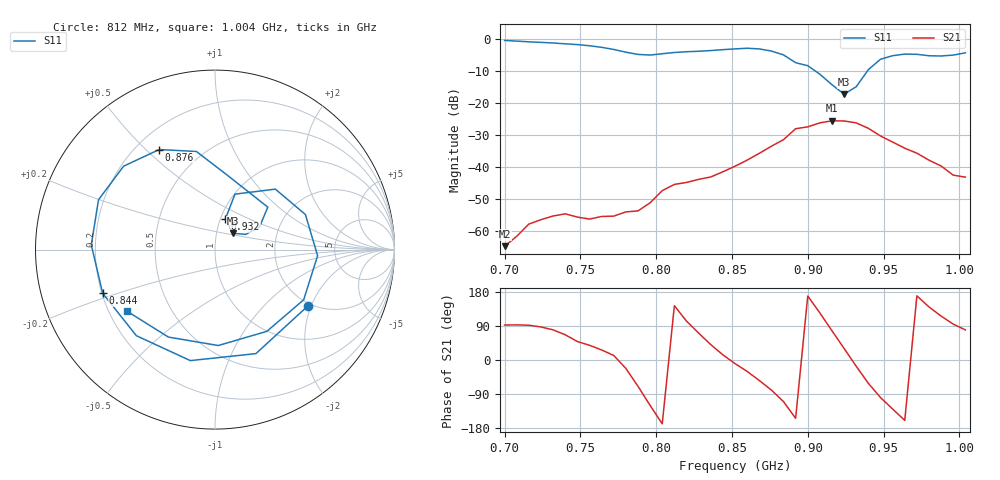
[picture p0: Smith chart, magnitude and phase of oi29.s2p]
# Hz S RI R 50
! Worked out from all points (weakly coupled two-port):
!   39 points, 700 MHz to 1.004 GHz, reference 50 ohm
!   highest |S21| = -25.60 dB at 916 MHz (marker M1); lowest = -64.6 dB at 700 MHz (marker M2)
!   lowest |S11| = -17.3 dB at 924 MHz (marker M3), VSWR 1.32, Z = 60.2 + j11.2 ohm
!   |S11| at or under -10 dB: 904.6 MHz to 939.5 MHz (34.86 MHz wide, 3.78 % of centre)
!   S12 and S22 are empty: the file has one direction only
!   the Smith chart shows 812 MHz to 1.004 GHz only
!   S11 on the Smith chart (normalised r, x): 812 MHz: 1.92, -1.90; 844 MHz: 0.20, -0.18; 876 MHz: 0.29, +0.55; 932 MHz: 1.06, +0.37; 1.004 GHz: 0.27, -0.29
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7e8  0.7686 0.5289  -2.47e-05 0.000587  0 0  0 0
7.24e8  0.8296 -0.2642  7.69e-05 0.00152  0 0  0 0
7.4e8  0.4419 -0.6994  0.000746 0.00172  0 0  0 0
7.56e8  -0.197 -0.746  0.00121 0.000974  0 0  0 0
7.72e8  -0.6497 -0.1856  0.00169 0.00036  0 0  0 0
7.8e8  -0.5677 0.2314  0.00186 -0.000759  0 0  0 0
7.88e8  -0.214 0.5237  0.000732 -0.00195  0 0  0 0
7.96e8  0.2636 0.4863  -0.00138 -0.00241  0 0  0 0
8.04e8  0.5646 0.1314  -0.00421 -0.000865  0 0  0 0
8.12e8  0.519 -0.3125  -0.0043 0.00321  0 0  0 0
8.28e8  -0.1373 -0.6185  0.00209 0.00609  0 0  0 0
8.44e8  -0.6258 -0.2433  0.00821 0.00199  0 0  0 0
8.52e8  -0.6892 0.0261  0.0102 -0.00168  0 0  0 0
8.76e8  -0.3105 0.5576  0.0039 -0.0207  0 0  0 0
9e8  0.2942 0.2365  -0.0415 0.00813  0 0  0 0
9.08e8  0.2479 0.1265  -0.0273 0.0404  0 0  0 0
9.16e8  0.1709 0.0848  0.0118 0.0511  0 0  0 0
9.24e8  0.1014 0.091  0.045 0.0264  0 0  0 0
9.32e8  0.0569 0.1685  0.0466 -0.014  0 0  0 0
9.56e8  0.5038 0.1954  -0.0155 -0.0189  0 0  0 0
9.8e8  0.2893 -0.4553  -0.00981 0.00823  0 0  0 0
1.004e9  -0.492 -0.3419  0.00128 0.00686  0 0  0 0
